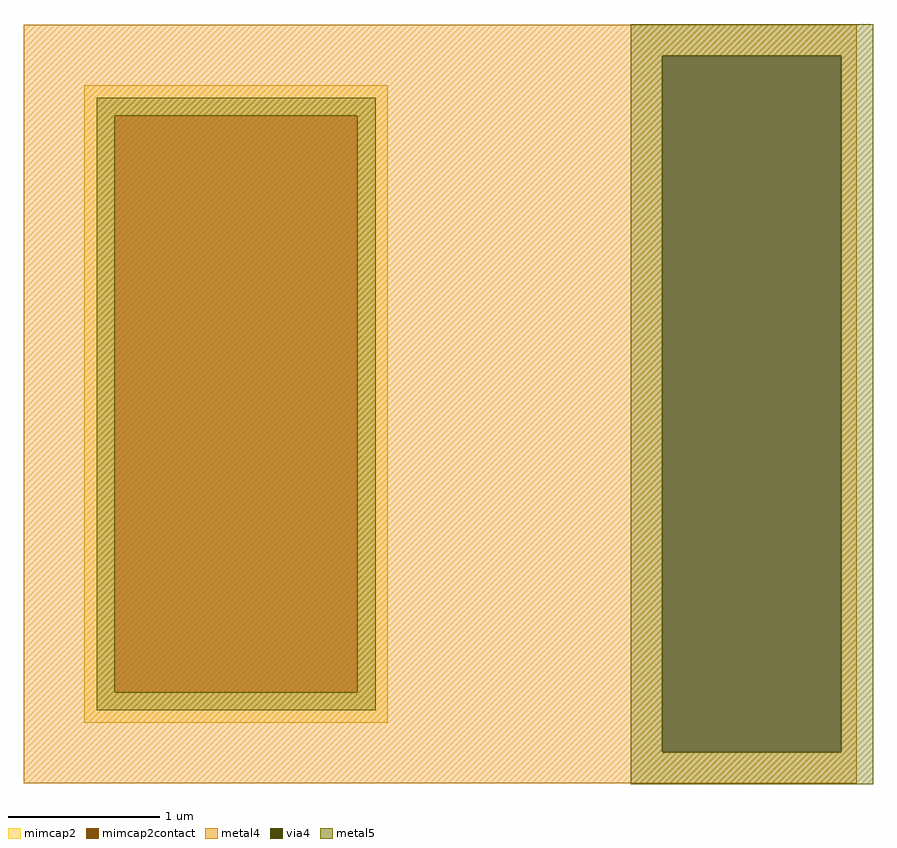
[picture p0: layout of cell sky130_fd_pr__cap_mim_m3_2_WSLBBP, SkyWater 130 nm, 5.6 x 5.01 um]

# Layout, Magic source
magic
tech sky130A
magscale 1 2
<< metal4 >>
rect -549 459 549 500
rect -549 -459 293 459
rect 529 -459 549 459
rect -549 -500 549 -459
<< via4 >>
rect 293 -459 529 459
<< mimcap2 >>
rect -469 380 -69 420
rect -469 -380 -429 380
rect -109 -380 -69 380
rect -469 -420 -69 -380
<< mimcap2contact >>
rect -429 -380 -109 380
<< metal5 >>
rect 251 459 571 501
rect -453 380 -85 404
rect -453 -380 -429 380
rect -109 -380 -85 380
rect -453 -404 -85 -380
rect 251 -459 293 459
rect 529 -459 571 459
rect 251 -501 571 -459
<< properties >>
string FIXED_BBOX -549 -500 11 500
string gencell sky130_fd_pr__cap_mim_m3_2
string library sky130
string parameters w 2.00 l 4.203 val 19.169 carea 2.00 cperi 0.19 class capacitor nx 1 ny 1 dummy 0 square 0 lmin 2.00 wmin 2.00 lmax 30.0 wmax 30.0 dc 0 bconnect 1 tconnect 1 ccov 100 mf 1
<< end >>
